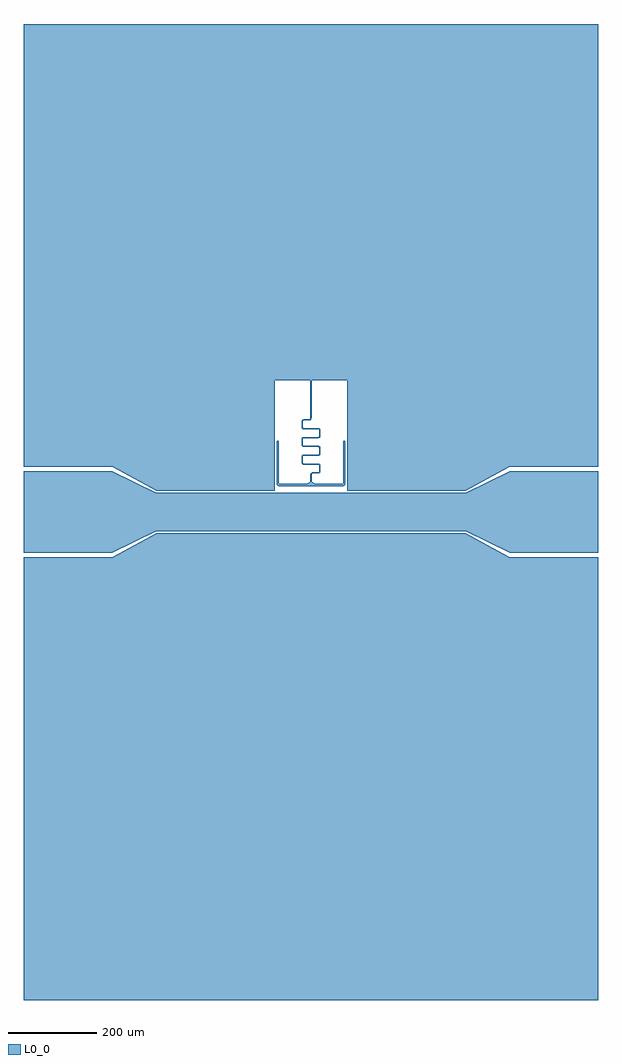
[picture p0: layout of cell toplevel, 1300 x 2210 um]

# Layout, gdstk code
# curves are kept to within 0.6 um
import gdstk
lib = gdstk.Library(unit=1e-6, precision=1e-09)
def P(c, l, *ps):  # polygons
    for p in ps: c.add(gdstk.Polygon(p, *l))
L0_0 = (0, 0)

toplevel = lib.new_cell('toplevel')
P(toplevel, L0_0, [(82.5,298.5),(82.5,48.5),(350,48.5),(450,102.575),(650,102.575),(650,1105),(-650,1105),(-650,102.575),(-450,102.575),(-350,48.5),(-82.5,48.5),(-82.5,298.5)],
  [(650,-1105),(650,-102.575),(450,-102.575),(350,-48.5),(-350,-48.5),(-450,-102.575),(-650,-102.575),(-650,-1105)],
  [(-75.109,160.998),(-76.768,160.268),(-77.498,158.609),(-77.5,65.38),(-76.915,61.9),(-74.998,59.572),(-70.644,58.5),(70.764,58.501),(74.134,59.1),(76.428,61.002),(77.5,65.38),(77.5,158.5),(76.434,160.548),(73.944,160.766),(72.502,158.609),(72.218,63.728),(-70.62,63.5),(-72.244,63.747),(-72.498,65.165),(-72.502,158.609),(-73.311,160.343)],
  [(1.25,68.5),(1.257,84.555),(1.777,86.531),(3.636,87.229),(16.058,87.256),(18.247,87.595),(19.635,88.359),(20.596,89.542),(21.121,91.096),(21.143,105.771),(20.845,106.912),(20.335,107.882),(18.741,109.205),(15.916,109.747),(-17.423,109.955),(-18.101,110.337),(-18.711,111.916),(-18.728,124.882),(-18.426,126.212),(-17.712,126.926),(-15.793,127.248),(17.008,127.32),(18.659,127.757),(19.923,128.623),(20.779,129.923),(21.191,131.596),(21.166,145.613),(20.895,146.774),(19.734,148.557),(17.565,149.59),(-17.395,149.946),(-18.075,150.314),(-18.698,151.792),(-18.729,164.864),(-18.426,166.212),(-16.914,167.168),(16.956,167.314),(18.577,167.721),(19.853,168.554),(20.718,169.787),(21.166,171.387),(21.17,185.586),(20.423,187.751),(19.734,188.557),(17.565,189.59),(-16.382,189.772),(-18.022,190.269),(-18.674,191.62),(-18.74,204.634),(-18.125,206.64),(-16.25,207.235),(-2.3,207.44),(-0.031,208.67),(1.111,211.043),(1.25,298.5),(-1.25,298.5),(-1.343,211.52),(-1.875,210.36),(-3.07,209.835),(-16.725,209.709),(-18.549,209.29),(-19.923,208.377),(-20.824,206.967),(-21.219,205.098),(-21.143,191.229),(-20.666,189.678),(-19.806,188.509),(-18.549,187.71),(-16.93,187.311),(15.772,187.248),(17.7,186.932),(18.426,186.212),(18.729,184.864),(18.689,171.722),(18.058,170.299),(16.401,169.774),(-15.939,169.746),(-18.85,169.152),(-20.423,167.751),(-21.17,165.586),(-21.18,151.492),(-20.755,149.869),(-19.9,148.6),(-18.631,147.745),(-16.982,147.317),(15.772,147.248),(17.712,146.926),(18.426,146.212),(18.728,144.882),(18.706,131.862),(18.092,130.329),(16.42,129.775),(-15.939,129.746),(-18.85,129.152),(-20.406,127.777),(-21.166,125.613),(-21.199,111.673),(-20.79,109.951),(-19.946,108.647),(-18.686,107.769),(-17.008,107.32),(15.772,107.248),(17.663,106.95),(18.395,106.272),(18.721,104.975),(18.75,93.175),(18.693,91.757),(18.004,90.255),(15.854,89.753),(3.122,89.694),(1.232,89.193),(-0.162,88.11),(-0.914,86.719),(-1.228,84.948),(-1.25,68.5)],
  [(10,63.5),(1.25,68.5),(-1.25,68.5),(-10,63.5)],
  [(-350,43.5),(-450,92),(-650,92),(-650,-92),(-450,-92),(-350,-43.5),(350,-43.5),(450,-92),(650,-92),(650,92),(450,92),(350,43.5)])

lib.write_gds('toplevel.gds')
